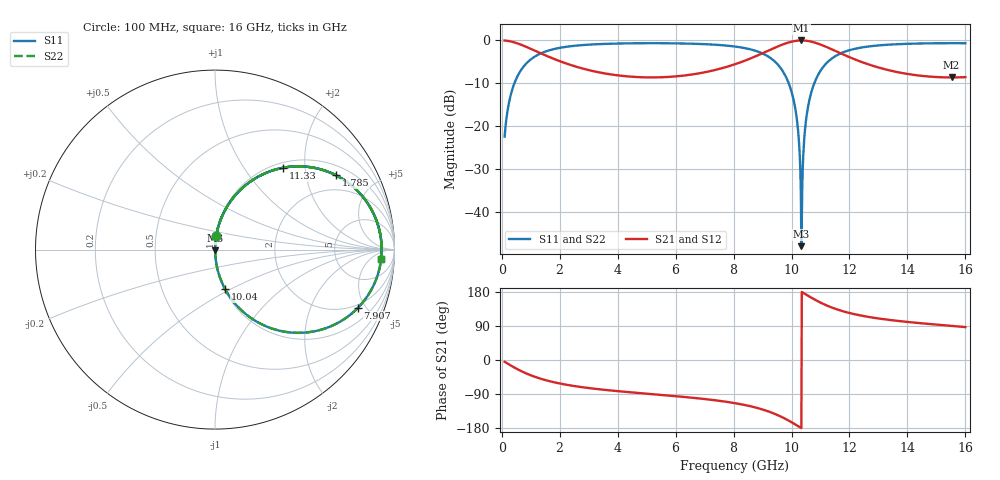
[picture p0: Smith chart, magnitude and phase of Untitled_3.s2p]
! TOUCHSTONE file generated by CST MICROWAVE STUDIO
! Date and time: Tue Mar 14 18:10:13 2023
! Project name: Untitled_0.cst
! Header version: 2018
! Port assignment regex: !\s*Touchstone port\s*([0-9]+)\s*=\s*(CST MWS port|CST DS port)\s*([0-9]+|Zmin|Zmax)\s*\(\"(.*)\"\)(\s*mode\s*([0-9]+))?.*
! Touchstone port assignment:
! Touchstone port 1 = CST MWS port 1 ("")
! Touchstone port 2 = CST MWS port 2 ("")
# GHz S MA R 50
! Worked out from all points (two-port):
!   1001 points, 100 MHz to 16 GHz, reference 50 ohm
!   highest |S21| = -0.01 dB at 10.34 GHz (marker M1); lowest = -8.6 dB at 15.52 GHz (marker M2)
!   |S21| within 3 dB of the highest: start of sweep to 1.351 GHz; 8.994 GHz to 11.7 GHz (2.701 GHz wide, 26.1 % of centre)
!   lowest |S11| = -47.9 dB at 10.34 GHz (marker M3), VSWR 1.01, Z = 50.1 - j0.395 ohm
!   |S11| at or under -10 dB: start of sweep to 436.7 MHz; 9.905 GHz to 10.78 GHz (880.1 MHz wide, 8.51 % of centre)
!   |S22| runs from -47.9 to -0.6 dB; largest |S21 - S12| = 3.9e-05
!   S11 on the Smith chart (normalised r, x): 100 MHz: 1.00, +0.15; 1.785 GHz: 1.34, +2.97; 7.907 GHz: 1.78, -4.44; 10.04 GHz: 1.01, -0.47; 11.33 GHz: 1.09, +1.53; 16 GHz: 18, -12
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0.1  0.07581 85.3  0.9971 -4.7  0.9971 -4.7  0.07581 85.3
0.3226  0.2396 75.0  0.9708 -14.9  0.9708 -14.9  0.2396 75.0
0.6247  0.4288 62.4  0.9029 -27.5  0.9029 -27.5  0.4288 62.5
1.7854  0.7908 31.7  0.6125 -58.4  0.6125 -58.4  0.7908 31.7
2.7553  0.881 18.5  0.4744 -71.5  0.4743 -71.6  0.881 18.5
5.4106  0.9282 -1.5  0.3718 -91.5  0.3718 -91.5  0.9282 -1.5
7.9069  0.8603 -22.1  0.5095 -112.1  0.5095 -112.1  0.8603 -22.1
8.05  0.8488 -23.9  0.5283 -113.9  0.5283 -113.9  0.8488 -23.9
9.3856  0.5835 -51.0  0.8114 -141.1  0.8114 -141.1  0.5835 -51.0
10.0375  0.2271 -75.6  0.973 -165.8  0.973 -165.8  0.2271 -75.6
10.1965  0.1119 -82.7  0.9929 -173.1  0.9929 -173.1  0.1119 -82.7
10.276  0.0522 -85.9  0.9978 -176.8  0.9978 -176.8  0.05221 -85.9
10.3396  0.004027 -78.1  0.9991 -179.8  0.9991 -179.8  0.00403 -78.1
10.4032  0.04434 86.2  0.9981 177.3  0.9981 177.3  0.04434 86.2
10.4509  0.08036 84.5  0.9959 175.0  0.9959 175.0  0.08035 84.5
10.5145  0.1278 81.7  0.9909 172.1  0.9909 172.1  0.1278 81.7
10.7053  0.2637 73.3  0.9637 163.5  0.9637 163.5  0.2637 73.3
11.3254  0.5917 50.4  0.8054 140.4  0.8054 140.4  0.5917 50.4
12.2158  0.8028 30.2  0.5959 120.2  0.5959 120.2  0.8028 30.2
13.3606  0.8931 15.9  0.4498 105.9  0.4498 105.9  0.893 15.9
15.523  0.9285 -0.0  0.3707 90.0  0.3708 90.0  0.9285 -0.0
16  0.9271 -3.1  0.3741 86.9  0.3741 86.9  0.9271 -3.1
